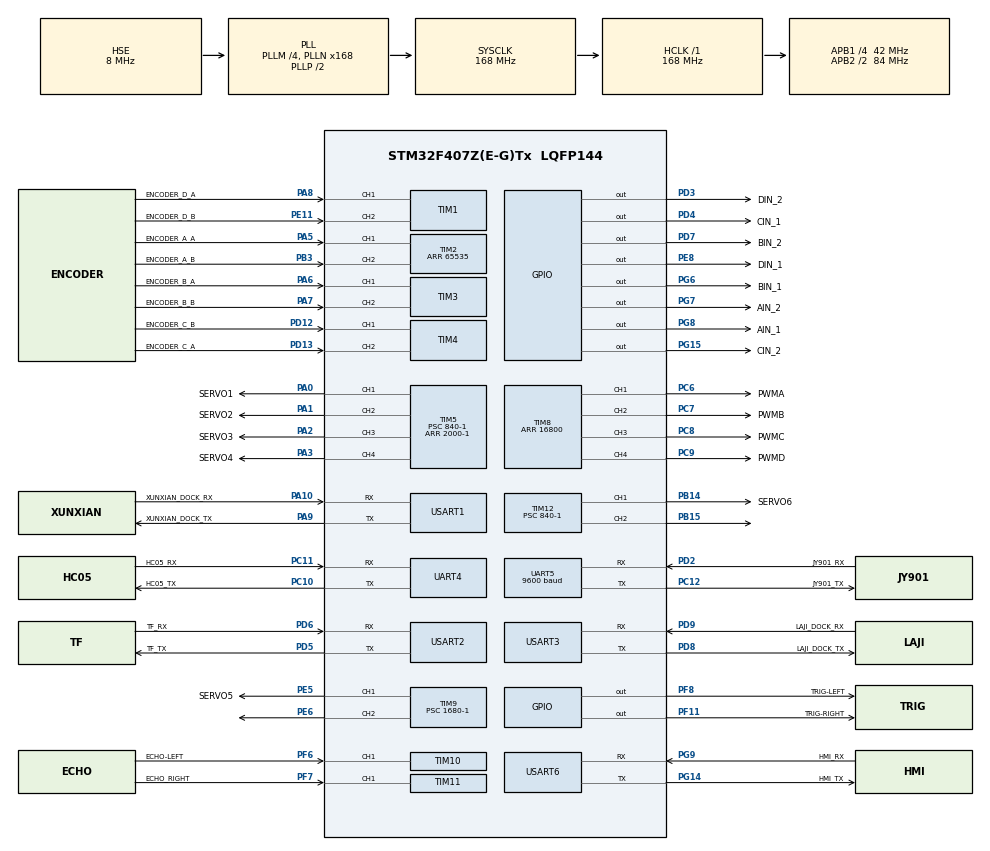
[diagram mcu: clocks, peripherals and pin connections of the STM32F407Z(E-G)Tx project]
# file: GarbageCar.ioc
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Dma.Request0=UART4_RX
Dma.Request1=UART5_RX
Dma.Request2=USART1_RX
Dma.Request3=USART2_RX
Dma.Request4=USART3_RX
Dma.UART4_RX.0.Direction=DMA_PERIPH_TO_MEMORY
Dma.UART4_RX.0.FIFOMode=DMA_FIFOMODE_DISABLE
Dma.UART4_RX.0.Instance=DMA1_Stream2
Dma.UART4_RX.0.MemDataAlignment=DMA_MDATAALIGN_BYTE
Dma.UART4_RX.0.MemInc=DMA_MINC_ENABLE
Dma.UART4_RX.0.Mode=DMA_NORMAL
Dma.UART4_RX.0.PeriphDataAlignment=DMA_PDATAALIGN_BYTE
Dma.UART4_RX.0.PeriphInc=DMA_PINC_DISABLE
Dma.UART4_RX.0.Priority=DMA_PRIORITY_LOW
Dma.UART5_RX.1.Direction=DMA_PERIPH_TO_MEMORY
Dma.UART5_RX.1.FIFOMode=DMA_FIFOMODE_DISABLE
Dma.UART5_RX.1.Instance=DMA1_Stream0
Dma.UART5_RX.1.MemDataAlignment=DMA_MDATAALIGN_BYTE
Dma.UART5_RX.1.MemInc=DMA_MINC_ENABLE
Dma.UART5_RX.1.Mode=DMA_NORMAL
Dma.UART5_RX.1.PeriphDataAlignment=DMA_PDATAALIGN_BYTE
Dma.UART5_RX.1.PeriphInc=DMA_PINC_DISABLE
Dma.UART5_RX.1.Priority=DMA_PRIORITY_LOW
Dma.USART1_RX.2.Direction=DMA_PERIPH_TO_MEMORY
Dma.USART1_RX.2.FIFOMode=DMA_FIFOMODE_DISABLE
Dma.USART1_RX.2.Instance=DMA2_Stream2
Dma.USART1_RX.2.MemDataAlignment=DMA_MDATAALIGN_BYTE
Dma.USART1_RX.2.MemInc=DMA_MINC_ENABLE
Dma.USART1_RX.2.Mode=DMA_NORMAL
Dma.USART1_RX.2.PeriphDataAlignment=DMA_PDATAALIGN_BYTE
Dma.USART1_RX.2.PeriphInc=DMA_PINC_DISABLE
Dma.USART1_RX.2.Priority=DMA_PRIORITY_LOW
Dma.USART2_RX.3.Direction=DMA_PERIPH_TO_MEMORY
Dma.USART2_RX.3.FIFOMode=DMA_FIFOMODE_DISABLE
Dma.USART2_RX.3.Instance=DMA1_Stream5
Dma.USART2_RX.3.MemDataAlignment=DMA_MDATAALIGN_BYTE
Dma.USART2_RX.3.MemInc=DMA_MINC_ENABLE
Dma.USART2_RX.3.Mode=DMA_NORMAL
Dma.USART2_RX.3.PeriphDataAlignment=DMA_PDATAALIGN_BYTE
Dma.USART2_RX.3.PeriphInc=DMA_PINC_DISABLE
Dma.USART2_RX.3.Priority=DMA_PRIORITY_LOW
Dma.USART3_RX.4.Direction=DMA_PERIPH_TO_MEMORY
Dma.USART3_RX.4.FIFOMode=DMA_FIFOMODE_DISABLE
Dma.USART3_RX.4.Instance=DMA1_Stream1
Dma.USART3_RX.4.MemDataAlignment=DMA_MDATAALIGN_BYTE
Dma.USART3_RX.4.MemInc=DMA_MINC_ENABLE
Dma.USART3_RX.4.Mode=DMA_NORMAL
Dma.USART3_RX.4.PeriphDataAlignment=DMA_PDATAALIGN_BYTE
Dma.USART3_RX.4.PeriphInc=DMA_PINC_DISABLE
Dma.USART3_RX.4.Priority=DMA_PRIORITY_LOW
Mcu.Family=STM32F4
Mcu.Name=STM32F407Z(E-G)Tx
Mcu.Package=LQFP144
NVIC.DMA1_Stream0_IRQn=true\:0\:0\:false\:false\:true\:false\:true
NVIC.DMA1_Stream1_IRQn=true\:0\:0\:false\:false\:true\:false\:true
NVIC.DMA1_Stream2_IRQn=true\:0\:0\:false\:false\:true\:false\:true
NVIC.DMA1_Stream5_IRQn=true\:0\:0\:false\:false\:true\:false\:true
NVIC.DMA2_Stream2_IRQn=true\:0\:0\:false\:false\:true\:false\:true
NVIC.PriorityGroup=NVIC_PRIORITYGROUP_4
NVIC.TIM1_TRG_COM_TIM11_IRQn=true\:0\:0\:false\:false\:true\:true\:true
NVIC.TIM1_UP_TIM10_IRQn=true\:0\:0\:false\:false\:true\:true\:true
NVIC.TIM6_DAC_IRQn=true\:0\:0\:false\:false\:true\:true\:true
NVIC.UART4_IRQn=true\:0\:0\:false\:false\:true\:true\:true
NVIC.UART5_IRQn=true\:0\:0\:false\:false\:true\:true\:true
NVIC.USART1_IRQn=true\:0\:0\:false\:false\:true\:true\:true
NVIC.USART2_IRQn=true\:0\:0\:false\:false\:true\:true\:true
NVIC.USART3_IRQn=true\:0\:0\:false\:false\:true\:true\:true
NVIC.USART6_IRQn=true\:0\:0\:false\:false\:true\:true\:true
PA0-WKUP.GPIO_Label=SERVO1
PA0-WKUP.Signal=S_TIM5_CH1
PA1.GPIO_Label=SERVO2
PA1.Signal=S_TIM5_CH2
PA10.GPIO_Label=XUNXIAN_DOCK_RX
PA10.Mode=Asynchronous
PA10.Signal=USART1_RX
PA13.Mode=Serial_Wire
PA13.Signal=SYS_JTMS-SWDIO
PA14.Mode=Serial_Wire
PA14.Signal=SYS_JTCK-SWCLK
PA2.GPIO_Label=SERVO3
PA2.Signal=S_TIM5_CH3
PA3.GPIO_Label=SERVO4
PA3.Signal=S_TIM5_CH4
PA5.GPIO_Label=ENCODER_A_A
PA5.Signal=S_TIM2_CH1_ETR
PA6.GPIO_Label=ENCODER_B_A
PA6.Signal=S_TIM3_CH1
PA7.GPIO_Label=ENCODER_B_B
PA7.Signal=S_TIM3_CH2
PA8.GPIO_Label=ENCODER_D_A
PA8.Signal=S_TIM1_CH1
PA9.GPIO_Label=XUNXIAN_DOCK_TX
PA9.Mode=Asynchronous
PA9.Signal=USART1_TX
PB14.GPIO_Label=SERVO6
PB14.Signal=S_TIM12_CH1
PB15.Signal=S_TIM12_CH2
PB3.GPIO_Label=ENCODER_A_B
PB3.Signal=S_TIM2_CH2
PC10.GPIO_Label=HC05_TX
PC10.Mode=Asynchronous
PC10.Signal=UART4_TX
PC11.GPIO_Label=HC05_RX
PC11.Mode=Asynchronous
PC11.Signal=UART4_RX
PC12.GPIO_Label=JY901_TX
PC12.Mode=Asynchronous
PC12.Signal=UART5_TX
PC6.GPIO_Label=PWMA
PC6.Signal=S_TIM8_CH1
PC7.GPIO_Label=PWMB
PC7.Signal=S_TIM8_CH2
PC8.GPIO_Label=PWMC
PC8.Signal=S_TIM8_CH3
PC9.GPIO_Label=PWMD
PC9.Signal=S_TIM8_CH4
PD12.GPIO_Label=ENCODER_C_B
PD12.Signal=S_TIM4_CH1
PD13.GPIO_Label=ENCODER_C_A
PD13.Signal=S_TIM4_CH2
PD2.GPIO_Label=JY901_RX
PD2.Mode=Asynchronous
PD2.Signal=UART5_RX
PD3.GPIO_Label=DIN_2
PD3.Signal=GPIO_Output
PD4.GPIO_Label=CIN_1
PD4.Signal=GPIO_Output
PD5.GPIO_Label=TF_TX
PD5.Mode=Asynchronous
PD5.Signal=USART2_TX
PD6.GPIO_Label=TF_RX
PD6.Mode=Asynchronous
PD6.Signal=USART2_RX
PD7.GPIO_Label=BIN_2
PD7.Signal=GPIO_Output
PD8.GPIO_Label=LAJI_DOCK_TX
PD8.Mode=Asynchronous
PD8.Signal=USART3_TX
PD9.GPIO_Label=LAJI_DOCK_RX
PD9.Mode=Asynchronous
PD9.Signal=USART3_RX
PE11.GPIO_Label=ENCODER_D_B
PE11.Signal=S_TIM1_CH2
PE5.GPIO_Label=SERVO5
PE5.Signal=S_TIM9_CH1
PE6.Signal=S_TIM9_CH2
PE8.GPIO_Label=DIN_1
PE8.Signal=GPIO_Output
PF11.GPIO_Label=TRIG-RIGHT
PF11.Signal=GPIO_Output
PF6.GPIO_Label=ECHO-LEFT
PF6.Signal=S_TIM10_CH1
PF7.GPIO_Label=ECHO_RIGHT
PF7.Signal=S_TIM11_CH1
PF8.GPIO_Label=TRIG-LEFT
PF8.Signal=GPIO_Output
PG14.GPIO_Label=HMI_TX
PG14.Mode=Asynchronous
PG14.Signal=USART6_TX
PG15.GPIO_Label=CIN_2
PG15.Signal=GPIO_Output
PG6.GPIO_Label=BIN_1
PG6.Signal=GPIO_Output
PG7.GPIO_Label=AIN_2
PG7.Signal=GPIO_Output
PG8.GPIO_Label=AIN_1
PG8.Signal=GPIO_Output
PG9.GPIO_Label=HMI_RX
PG9.Mode=Asynchronous
PG9.Signal=USART6_RX
PH0-OSC_IN.Mode=HSE-External-Oscillator
PH0-OSC_IN.Signal=RCC_OSC_IN
PH1-OSC_OUT.Mode=HSE-External-Oscillator
PH1-OSC_OUT.Signal=RCC_OSC_OUT
ProjectManager.HeapSize=0x200
ProjectManager.StackSize=0x400
ProjectManager.TargetToolchain=MDK-ARM V5.32
RCC.48MHZClocksFreq_Value=84000000
RCC.AHBFreq_Value=168000000
RCC.APB1CLKDivider=RCC_HCLK_DIV4
RCC.APB1Freq_Value=42000000
RCC.APB1TimFreq_Value=84000000
RCC.APB2CLKDivider=RCC_HCLK_DIV2
RCC.APB2Freq_Value=84000000
RCC.APB2TimFreq_Value=168000000
RCC.CortexFreq_Value=168000000
RCC.HCLKFreq_Value=168000000
RCC.HSE_VALUE=8000000
RCC.HSI_VALUE=16000000
RCC.LSE_VALUE=32768
RCC.PLLM=4
RCC.PLLN=168
RCC.PLLSourceVirtual=RCC_PLLSOURCE_HSE
RCC.RCC_RTC_Clock_Source=RCC_RTCCLKSOURCE_LSI
RCC.RCC_RTC_Clock_SourceVirtual=RCC_RTCCLKSOURCE_LSI
RCC.SYSCLKFreq_VALUE=168000000
RCC.SYSCLKSource=RCC_SYSCLKSOURCE_PLLCLK
RCC.VCOOutputFreq_Value=336000000
SH.S_TIM10_CH1.0=TIM10_CH1,Input_Capture1_from_TI1
SH.S_TIM11_CH1.0=TIM11_CH1,Input_Capture1_from_TI1
SH.S_TIM12_CH1.0=TIM12_CH1,PWM Generation1 CH1
SH.S_TIM12_CH2.0=TIM12_CH2,PWM Generation2 CH2
SH.S_TIM1_CH1.0=TIM1_CH1,Encoder_Interface
SH.S_TIM1_CH2.0=TIM1_CH2,Encoder_Interface
SH.S_TIM2_CH1_ETR.0=TIM2_CH1,Encoder_Interface
SH.S_TIM2_CH2.0=TIM2_CH2,Encoder_Interface
SH.S_TIM3_CH1.0=TIM3_CH1,Encoder_Interface
SH.S_TIM3_CH2.0=TIM3_CH2,Encoder_Interface
SH.S_TIM4_CH1.0=TIM4_CH1,Encoder_Interface
SH.S_TIM4_CH2.0=TIM4_CH2,Encoder_Interface
SH.S_TIM5_CH1.0=TIM5_CH1,PWM Generation1 CH1
SH.S_TIM5_CH2.0=TIM5_CH2,PWM Generation2 CH2
SH.S_TIM5_CH3.0=TIM5_CH3,PWM Generation3 CH3
SH.S_TIM5_CH4.0=TIM5_CH4,PWM Generation4 CH4
SH.S_TIM8_CH1.0=TIM8_CH1,PWM Generation1 CH1
SH.S_TIM8_CH2.0=TIM8_CH2,PWM Generation2 CH2
SH.S_TIM8_CH3.0=TIM8_CH3,PWM Generation3 CH3
SH.S_TIM8_CH4.0=TIM8_CH4,PWM Generation4 CH4
SH.S_TIM9_CH1.0=TIM9_CH1,PWM Generation1 CH1
SH.S_TIM9_CH2.0=TIM9_CH2,PWM Generation2 CH2
TIM1.EncoderMode=TIM_ENCODERMODE_TI12
TIM1.IC1Filter=6
TIM1.IC2Filter=6
TIM10.Channel=TIM_CHANNEL_1
TIM10.Prescaler=167
TIM11.Channel=TIM_CHANNEL_1
TIM11.Prescaler=167
TIM12.Channel-PWM\ Generation1\ CH1=TIM_CHANNEL_1
TIM12.Channel-PWM\ Generation2\ CH2=TIM_CHANNEL_2
TIM12.Period=2000-1
TIM12.Prescaler=840-1
TIM12.Pulse-PWM\ Generation2\ CH2=100
TIM2.EncoderMode=TIM_ENCODERMODE_TI12
TIM2.IC1Filter=6
TIM2.IC2Filter=6
TIM2.Period=65535
TIM3.EncoderMode=TIM_ENCODERMODE_TI12
TIM3.IC1Filter=6
TIM3.IC2Filter=6
TIM4.EncoderMode=TIM_ENCODERMODE_TI12
TIM4.IC1Filter=6
TIM4.IC2Filter=6
TIM5.AutoReloadPreload=TIM_AUTORELOAD_PRELOAD_ENABLE
TIM5.Channel-PWM\ Generation1\ CH1=TIM_CHANNEL_1
TIM5.Channel-PWM\ Generation2\ CH2=TIM_CHANNEL_2
TIM5.Channel-PWM\ Generation3\ CH3=TIM_CHANNEL_3
TIM5.Channel-PWM\ Generation4\ CH4=TIM_CHANNEL_4
TIM5.Period=2000-1
TIM5.Prescaler=840-1
TIM5.Pulse-PWM\ Generation2\ CH2=80
TIM5.Pulse-PWM\ Generation3\ CH3=150
TIM5.Pulse-PWM\ Generation4\ CH4=150
TIM6.Period=9999
TIM6.Prescaler=167
TIM8.AutoReloadPreload=TIM_AUTORELOAD_PRELOAD_ENABLE
TIM8.Channel-PWM\ Generation1\ CH1=TIM_CHANNEL_1
TIM8.Channel-PWM\ Generation2\ CH2=TIM_CHANNEL_2
TIM8.Channel-PWM\ Generation3\ CH3=TIM_CHANNEL_3
TIM8.Channel-PWM\ Generation4\ CH4=TIM_CHANNEL_4
TIM8.Period=16800
TIM9.Channel-PWM\ Generation1\ CH1=TIM_CHANNEL_1
TIM9.Channel-PWM\ Generation2\ CH2=TIM_CHANNEL_2
TIM9.Period=2000
TIM9.Prescaler=1680-1
TIM9.Pulse-PWM\ Generation1\ CH1=100
TIM9.Pulse-PWM\ Generation2\ CH2=200
UART4.VirtualMode=Asynchronous
UART5.BaudRate=9600
UART5.VirtualMode=Asynchronous
USART1.VirtualMode=VM_ASYNC
USART2.VirtualMode=VM_ASYNC
USART3.VirtualMode=VM_ASYNC
USART6.VirtualMode=VM_ASYNC
VP_TIM10_VS_ClockSourceINT.Mode=Enable_Timer
VP_TIM11_VS_ClockSourceINT.Mode=Enable_Timer
VP_TIM12_VS_ClockSourceINT.Mode=Internal
VP_TIM5_VS_ClockSourceINT.Mode=Internal
VP_TIM6_VS_ClockSourceINT.Mode=Enable_Timer
VP_TIM8_VS_ClockSourceINT.Mode=Internal
VP_TIM9_VS_ClockSourceINT.Mode=Internal
board=custom

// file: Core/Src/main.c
/* USER CODE BEGIN Header */
/**
  ******************************************************************************
  * @file           : main.c
  * @brief          : Main program body
  ******************************************************************************
  * @attention
  *
  * Copyright (c) 2022 STMicroelectronics.
  * All rights reserved.
  *
  * This software is licensed under terms that can be found in the LICENSE file
  * in the root directory of this software component.
  * If no LICENSE file comes with this software, it is provided AS-IS.
  *
  ******************************************************************************
  */
/* USER CODE END Header */
#include "main.h"
#include "dma.h"
#include "tim.h"
#include "usart.h"
#include "gpio.h"

/* USER CODE BEGIN Includes */
#include "Datatransmit.h"
#include "motor.h"
#include "pid.h"
#include "stdio.h"
#include "ServoAction.h"
/* USER CODE END Includes */

/* USER CODE BEGIN PD */
#define firstspeed 20//默认初始速度
/* USER CODE END PD */

/* USER CODE BEGIN PV */
 int mode_flag;
 int run_flag;
 float Distance[3]={0};
 float CarAngle[3]={0};
 int Cnt_1 = 0;
 int Cnt_2 = 0;
 int delta_speed=0;
 float f,g,k;
 int x=0,y=0,w=0;
 short line_x,line_y;
 int output;
 float kp1=-0.5,kp2=-0.5,kp3=-0.5;
 short Laji_x,Laji_y,Laji;
 char Distance_SendBuf[200];
 char JY901_Data_SendBuf[200];
 int add=0;
 int flag=0;
 int control_gar =0;

/* USER CODE END PV */

void SystemClock_Config(void);

int main(void)
{

  /* MCU Configuration--------------------------------------------------------*/

  /* Reset of all peripherals, Initializes the Flash interface and the Systick. */
  HAL_Init();

  /* Configure the system clock */
  SystemClock_Config();

  /* Initialize all configured peripherals */
  MX_GPIO_Init();
  MX_DMA_Init();
  MX_TIM1_Init();
  MX_TIM2_Init();
  MX_TIM3_Init();
  MX_TIM4_Init();
  MX_TIM8_Init();
  MX_TIM12_Init();
  MX_UART4_Init();
  MX_UART5_Init();
  MX_USART1_UART_Init();
  MX_USART2_UART_Init();
  MX_USART3_UART_Init();
  MX_USART6_UART_Init();
  MX_TIM5_Init();
  MX_TIM9_Init();
  MX_TIM10_Init();
  MX_TIM11_Init();
  MX_TIM6_Init();
  /* USER CODE BEGIN 2 */
HAL_TIM_PWM_Start(&htim8,TIM_CHANNEL_1);
HAL_TIM_PWM_Start(&htim8,TIM_CHANNEL_2);
HAL_TIM_PWM_Start(&htim8,TIM_CHANNEL_3);
HAL_TIM_PWM_Start(&htim8,TIM_CHANNEL_4);

HAL_TIM_PWM_Start(&htim9,TIM_CHANNEL_2);
HAL_TIM_PWM_Start(&htim5,TIM_CHANNEL_2);
HAL_TIM_PWM_Start(&htim5,TIM_CHANNEL_3);
HAL_TIM_PWM_Start(&htim5,TIM_CHANNEL_4);
HAL_TIM_PWM_Start(&htim9,TIM_CHANNEL_1);
HAL_TIM_PWM_Start(&htim12,TIM_CHANNEL_2);

HAL_TIM_Encoder_Start(&htim1,TIM_CHANNEL_ALL);
HAL_TIM_Encoder_Start(&htim2,TIM_CHANNEL_ALL);
HAL_TIM_Encoder_Start(&htim3,TIM_CHANNEL_ALL);
HAL_TIM_Encoder_Start(&htim4,TIM_CHANNEL_ALL);
User_USART_MPU6050_Init(&JY901_data);
User_USART_HC05_Init(&HC05_data);
User_USART_TFminiS_Init(&TFminiS_data);
User_USART_OPENMV_Init(&OPENMV_data);
User_USART_V831_Init(&V831_data);
HAL_TIM_Base_Start(&htim10); //定时器计数开�?
HAL_TIM_Base_Start(&htim11);
__HAL_TIM_ENABLE_IT(&htim10,TIM_IT_UPDATE);
__HAL_TIM_ENABLE_IT(&htim11,TIM_IT_UPDATE);
HAL_TIM_IC_Start_IT(&htim10, TIM_CHANNEL_1);//定时器输入捕获中断使�?
HAL_TIM_IC_Start_IT(&htim11, TIM_CHANNEL_1);
HAL_TIM_Base_Start_IT(&htim6);

  /* USER CODE END 2 */

  /* Infinite loop */
  /* USER CODE BEGIN WHILE */
  while (1)
  {
		Measure();
		HMI_Send_JY901Data();
		HMI_Send_Distance();
		HMI_Send_Mode();
		if(control_gar == 1)
		{
	     char V831_Data_Buff[200];
		 sprintf (V831_Data_Buff,"page3.t4.txt=\"怡宝水瓶\"");
		 HMI_SendString(V831_Data_Buff);
	     HMI_SendBit(0xff);
	     memset( V831_Data_Buff,0,sizeof(V831_Data_Buff));
		}
		if(control_gar == 2)
		{
	     char V831_Data_Buff[200];
		 sprintf (V831_Data_Buff,"page3.t4.txt=\"农夫水瓶\"");
		 HMI_SendString(V831_Data_Buff);
	     HMI_SendBit(0xff);
	     memset( V831_Data_Buff,0,sizeof(V831_Data_Buff));
		}
		if(control_gar == 3)
		{
	     char V831_Data_Buff[200];
		 sprintf (V831_Data_Buff,"page3.t4.txt=\"纸团\"");
		 HMI_SendString(V831_Data_Buff);
	     HMI_SendBit(0xff);
	     memset( V831_Data_Buff,0,sizeof(V831_Data_Buff));
		}
		if(control_gar == 4)
		{
	     char V831_Data_Buff[200];
		 sprintf (V831_Data_Buff,"page3.t4.txt=\"纸杯\"");
		 HMI_SendString(V831_Data_Buff);
	     HMI_SendBit(0xff);
	     memset( V831_Data_Buff,0,sizeof(V831_Data_Buff));
		}
    /* USER CODE END WHILE */

    /* USER CODE BEGIN 3 */

//	  HAL_Delay(2000);
//	  Grab2();
//	  HAL_Delay(2000);
//	  Grab1();
//	  HAL_Delay(2000);
//	  Claw_Close();
//	  HAL_Delay(2000);
//	  ServoUp();
//	  HAL_Delay(2000);
if(flag){
									if(add<=90)
										{
											Grab(100+add);
											add+=1;
										}
									else if(add>90)
									{
									Claw_Close();
									ServoUp();
									add=0;
									flag=0;
									Laji=0;
									}}
HAL_Delay(20);
  }
  /* USER CODE END 3 */
}

void SystemClock_Config(void)
{
  RCC_OscInitTypeDef RCC_OscInitStruct = {0};
  RCC_ClkInitTypeDef RCC_ClkInitStruct = {0};

  /** Configure the main internal regulator output voltage
  */
  __HAL_RCC_PWR_CLK_ENABLE();
  __HAL_PWR_VOLTAGESCALING_CONFIG(PWR_REGULATOR_VOLTAGE_SCALE1);
  /** Initializes the RCC Oscillators according to the specified parameters
  * in the RCC_OscInitTypeDef structure.
  */
  RCC_OscInitStruct.OscillatorType = RCC_OSCILLATORTYPE_HSE;
  RCC_OscInitStruct.HSEState = RCC_HSE_ON;
  RCC_OscInitStruct.PLL.PLLState = RCC_PLL_ON;
  RCC_OscInitStruct.PLL.PLLSource = RCC_PLLSOURCE_HSE;
  RCC_OscInitStruct.PLL.PLLM = 4;
  RCC_OscInitStruct.PLL.PLLN = 168;
  RCC_OscInitStruct.PLL.PLLP = RCC_PLLP_DIV2;
  RCC_OscInitStruct.PLL.PLLQ = 4;
  if (HAL_RCC_OscConfig(&RCC_OscInitStruct) != HAL_OK)
  {
    Error_Handler();
  }
  /** Initializes the CPU, AHB and APB buses clocks
  */
  RCC_ClkInitStruct.ClockType = RCC_CLOCKTYPE_HCLK|RCC_CLOCKTYPE_SYSCLK
                              |RCC_CLOCKTYPE_PCLK1|RCC_CLOCKTYPE_PCLK2;
  RCC_ClkInitStruct.SYSCLKSource = RCC_SYSCLKSOURCE_PLLCLK;
  RCC_ClkInitStruct.AHBCLKDivider = RCC_SYSCLK_DIV1;
  RCC_ClkInitStruct.APB1CLKDivider = RCC_HCLK_DIV4;
  RCC_ClkInitStruct.APB2CLKDivider = RCC_HCLK_DIV2;

  if (HAL_RCC_ClockConfig(&RCC_ClkInitStruct, FLASH_LATENCY_5) != HAL_OK)
  {
    Error_Handler();
  }
}

/* USER CODE BEGIN 4 */
void HAL_TIM_PeriodElapsedCallback(TIM_HandleTypeDef *htim)
 {
if(htim->Instance==htim6.Instance)
	{		//if(add<=90)
//										{
//											Grab(100+add);
//											add+=1;
//										}
//									else if(add>90)
//									{
//									Claw_Close();
//									ServoUp();
//									}
		switch(mode_flag)
		{	case 0: motor_stop();Mcnamu(0,0,0);ServoInit();break;
			case 1:{
					if(Distance[1]>20&&Distance[0]>20&&Distance[2]>20)
					{
							Mcnamu(0,20,0);

					}
					else if(Distance[1]<20&&Distance[0]>20&&Distance[2]>20)
					{
						if(Distance[0]>Distance[2])
						{
							Mcnamu(0,0,-20);

						}
						else if(Distance[0]<Distance[2])
						{
							Mcnamu(0,0,20);
						}
					}
					else if (Distance[0]<20)
					{
						Mcnamu(0,0,20);
					}
					else if (Distance[1]<20)
					{
						Mcnamu(0,0,-20);
					}

					}break;//避障
			case 2:{
							if(Distance[1]<10)
							Mcnamu(0,5*(Distance[1]-10),0);
							else if(Distance[1]>13&&Distance[1]<33)
							Mcnamu(0,3*(Distance[1]-13),0);
							else if(Distance[1]>10&&Distance[1]<13)
							{Mcnamu(0,0,0);motor_stop();}
							else if(Distance[1]>33)
								Mcnamu(0,20,0);

							}break;//跟随
			case 3:{
						if(line_x!=0)
						{output=kp1*line_y/line_x+kp2*line_x;
						 Mcnamu(0,-40,output);}
						if(line_x==0)
						{output=kp3*line_y;
						 Mcnamu(output,-40,0);}

							}break;//循迹
			case 4:{switch(run_flag)
							{
									case 0:{

														Mcnamu(0,0,0);
														delta_speed=0;
													}break;
									case 1:{

														Mcnamu(0,firstspeed+delta_speed,0);
														delta_speed+=10;
													}break;
									case 2:{

														Mcnamu(0,-firstspeed+delta_speed,0);
														delta_speed-=10;
													}break;
									case 3:{

														Mcnamu(30,0,0);
													}break;
									case 4:{

														Mcnamu(-30,0,0);
													}break;
									case 6:{
														Mcnamu(0,0,20);
											}break;
									case 5:{
														Mcnamu(0,0,-20);
											}break;
							}

							}break;//遥控
		case 5:{	if(Laji){

							if(Distance[1]<10)
								Mcnamu(0,3*(Distance[1]-10),0);
							else if(Distance[1]>13&&Distance[1]<33)
								Mcnamu(0,3*(Distance[1]-13),0);
							else if(Distance[1]>10&&Distance[1]<13)
								{
									Mcnamu(0,0,0);
									motor_stop();
									flag=1;
								}
							else if(Distance[1]>33)
								Mcnamu(0,20,0);
			}

		}break;
		}
	}
	if (htim->Instance == htim10.Instance)  /* 定时器（超声波）溢出中断回调函数 */
	{
		Cnt_1++;
		HAL_TIM_Base_Start(&htim10);
	}
	if (htim->Instance == htim11.Instance)  /* 定时器（超声波）溢出中断回调函数 */
	{
		Cnt_2++;
		HAL_TIM_Base_Start(&htim11);
	}
 }

 uint8_t Edge_1 = 0;
 uint32_t T1_1;
 uint32_t T2_1;
 uint32_t T_1;

 uint8_t Edge_2 = 0;
 uint32_t T1_2;
 uint32_t T2_2;
 uint32_t T_2;
 /* 定时器输入捕获中断回调函�? */
void HAL_TIM_IC_CaptureCallback(TIM_HandleTypeDef *htim)
{
	if ((htim->Instance == htim10.Instance)&&htim->Channel == HAL_TIM_ACTIVE_CHANNEL_1)
	{
		 if (Edge_1 == 0)
		 {
			 T1_1 = HAL_TIM_ReadCapturedValue(&htim10,TIM_CHANNEL_1);

			 __HAL_TIM_SET_CAPTUREPOLARITY(&htim10,TIM_CHANNEL_1,TIM_INPUTCHANNELPOLARITY_FALLING);

			 Edge_1 = 1;

			 Cnt_1 = 0;
		 }
		 else if (Edge_1 ==1)
		 {
			 T2_1 = HAL_TIM_ReadCapturedValue(&htim10,TIM_CHANNEL_1);

			 __HAL_TIM_SET_CAPTUREPOLARITY(&htim10,TIM_CHANNEL_1,TIM_INPUTCHANNELPOLARITY_RISING);

			 Edge_1 = 0;

			 T2_1 += 65535 * Cnt_1;

			 T_1 = T2_1 - T1_1;

			 Distance[0] = T_1 * 0.000001 * 170 * 100;
		 }
	 }
	if ((htim->Instance == htim11.Instance)&&htim->Channel == HAL_TIM_ACTIVE_CHANNEL_1)
	{
		 if (Edge_2 == 0)
		 {
			 T1_2 = HAL_TIM_ReadCapturedValue(&htim11,TIM_CHANNEL_1);

			 __HAL_TIM_SET_CAPTUREPOLARITY(&htim11,TIM_CHANNEL_1,TIM_INPUTCHANNELPOLARITY_FALLING);

			 Edge_2 = 1;

			 Cnt_2 = 0;
		 }
		 else if (Edge_2 ==1)
		 {
			 T2_2 = HAL_TIM_ReadCapturedValue(&htim11,TIM_CHANNEL_1);

			 __HAL_TIM_SET_CAPTUREPOLARITY(&htim11,TIM_CHANNEL_1,TIM_INPUTCHANNELPOLARITY_RISING);

			 Edge_2 = 0;

			 T2_2 += 65535 * Cnt_2;

			 T_2 = T2_2 - T1_2;

			 Distance[2] = T_2 * 0.000001 * 170 * 100;
		 }

	}
}
void Measure(void)
{
	HAL_GPIO_WritePin(GPIOF,GPIO_PIN_8,GPIO_PIN_SET);
	HAL_GPIO_WritePin(GPIOF,GPIO_PIN_11,GPIO_PIN_SET);
	HAL_Delay(5);
	HAL_GPIO_WritePin(GPIOF,GPIO_PIN_8,GPIO_PIN_RESET);
	HAL_GPIO_WritePin(GPIOF,GPIO_PIN_11,GPIO_PIN_RESET);
}

int fputc(int ch, FILE*f)
{
	HAL_UART_Transmit(&huart6,(uint8_t*)ch,1,HAL_MAX_DELAY);
	return ch;
}

void HMI_SendBit(uint8_t k)
{
	uint8_t i;
	 for(i=0;i<3;i++)
	 {
		if(k!=0)
			{
				HAL_UART_Transmit(&huart6, &k, sizeof(k), HAL_MAX_DELAY);
			}
	 else
			return ;

	 }
}
void HMI_SendString(char *str)
{
	unsigned int k=0;
  do
  {
      HAL_UART_Transmit(&huart6,(uint8_t *)(str + k) ,1,1000);
      k++;
  } while(*(str + k)!='\0');

}
void HMI_Send_JY901Data(void)
{

	sprintf (JY901_Data_SendBuf,"page0.t6.txt=\"%.2f\"",CarAngle[2]);
	HMI_SendString(JY901_Data_SendBuf);
	HMI_SendBit(0xff);
	memset( JY901_Data_SendBuf,0,sizeof(JY901_Data_SendBuf));

	sprintf (JY901_Data_SendBuf,"page0.t7.txt=\"%.2f\"",CarAngle[1]);
	HMI_SendString(JY901_Data_SendBuf);
	HMI_SendBit(0xff);
	memset( JY901_Data_SendBuf,0,sizeof(JY901_Data_SendBuf));

	sprintf (JY901_Data_SendBuf,"page0.t8.txt=\"%.2f\"",CarAngle[0]);
	HMI_SendString(JY901_Data_SendBuf);
	HMI_SendBit(0xff);
	memset( JY901_Data_SendBuf,0,sizeof(JY901_Data_SendBuf));

}

void HMI_Send_Distance(void)
{

	sprintf (Distance_SendBuf,"page1.t4.txt=\"%.2f\"",Distance[0]);
	HMI_SendString(Distance_SendBuf);
	HMI_SendBit(0xff);
	memset(Distance_SendBuf,0,sizeof(Distance_SendBuf));

	sprintf (Distance_SendBuf,"page1.t5.txt=\"%.2f\"",Distance[1]);
	HMI_SendString(Distance_SendBuf);
	HMI_SendBit(0xff);
	memset(Distance_SendBuf,0,sizeof(Distance_SendBuf));

	sprintf (Distance_SendBuf,"page1.t6.txt=\"%.2f\"",Distance[2]);
	HMI_SendString(Distance_SendBuf);
	HMI_SendBit(0xff);
	memset(Distance_SendBuf,0,sizeof(Distance_SendBuf));
}

void HMI_Send_Mode(void)
{
	char Mode_DataBuff[200];
	if (mode_flag == 1)
	{
		sprintf(Mode_DataBuff,"page0.t5.txt=\"避障模式\"");
		HMI_SendString(Mode_DataBuff);
		HMI_SendBit(0xff);
		memset(Mode_DataBuff,0,sizeof(Mode_DataBuff));
	}
	if (mode_flag == 2)
	{
		sprintf(Mode_DataBuff,"page0.t5.txt=\"跟随模式\"");
		HMI_SendString(Mode_DataBuff);
		HMI_SendBit(0xff);
		memset(Mode_DataBuff,0,sizeof(Mode_DataBuff));
	}
	if (mode_flag == 3)
	{
		sprintf(Mode_DataBuff,"page0.t5.txt=\"循迹模式\"");
		HMI_SendString(Mode_DataBuff);
		HMI_SendBit(0xff);
		memset(Mode_DataBuff,0,sizeof(Mode_DataBuff));
	}
	if (mode_flag == 4)
	{
		sprintf(Mode_DataBuff,"page0.t5.txt=\"遥控模式\"");
		HMI_SendString(Mode_DataBuff);
		HMI_SendBit(0xff);
		memset(Mode_DataBuff,0,sizeof(Mode_DataBuff));
	}
	if (mode_flag == 5)
	{
		sprintf(Mode_DataBuff,"page0.t5.txt=\"垃圾分拣\"");
		HMI_SendString(Mode_DataBuff);
		HMI_SendBit(0xff);
		memset(Mode_DataBuff,0,sizeof(Mode_DataBuff));
	}
}

/* USER CODE END 4 */

void Error_Handler(void)
{
  __disable_irq();
  while (1)
  {
  }
}
